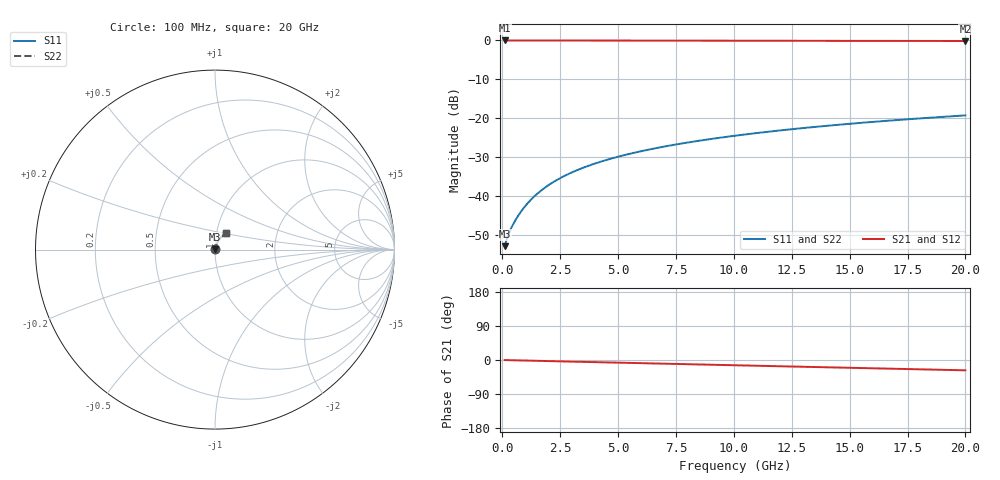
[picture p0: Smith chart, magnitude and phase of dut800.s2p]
! Touchstone file exported from HFSS 2026.1.0
!  File:  C:/ffzhzh/LocalFiles/Ansys_Project_Files/temp_train_TMRDL_800_1783156090_51560.aedt
!  Generated:  05:09:19 PM Jul  4, 2026
!  Design:  TMRDL
!  Project:  temp_train_TMRDL_800_1783156090_51560
! Variables:
!  h_bsmrdl = 2um
!  h_ox = 20um
!  h_rdl = 5um
!  h_sub = 80um
!  h_tmrdl = 4.79um
!  h_tsv = 80um
!  h_via = 3um
!  l_bsmrdl = 300um
!  l_sub = 869.86um
!  l_tmrdl = 469.86um
!  m_sub = 200um
!  pitch = 26.62um
!  r_tsv = 6um
!  s_tmrdl = 10um
!  w_bsmrdl = 18um
!  w_sub = 500um
!  w_tmrdl = 18.42um
!  x_tsv_center1 = 479.07um
!  x_tsv_center2 = 797.07um
!  x_tsv_center3 = 1285.35um
!  x_tsv_center4 = 1603.35um
!  x_tsv_center5 = 2091.63um
!  x_tsv_center6 = 2409.63um
# GHz S MA R 50.000000
! Terminal data exported
! Port[1] = TM_RDL1_1_T1
! Port[2] = TM_RDL1_1_T2
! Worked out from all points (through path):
!   200 points, 100 MHz to 20 GHz, reference 50 ohm
!   highest |S21| = -0.02 dB at 100 MHz (marker M1); lowest = -0.2 dB at 20 GHz (marker M2)
!   group delay of S21, straight-line fit = 3.77 ps
!   lowest |S11| = -52.9 dB at 100 MHz (marker M3), VSWR 1.00, Z = 50.2 + j0.0934 ohm
!   |S11| at or under -10 dB: start of sweep to end of sweep
!   |S22| runs from -52.9 to -19.3 dB; largest |S21 - S12| = 7.9e-15
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0.1  0.002275 24.1  0.9979 -0.2  0.9979 -0.2  0.002275 24.1
! Gamma 0 0 0 0
! Port Impedance 50 0 50 0
0.2  0.002846 36.9  0.9977 -0.3  0.9977 -0.3  0.002846 36.9
0.3  0.003416 44.3  0.9976 -0.5  0.9976 -0.5  0.003415 44.3
0.4  0.003968 49.7  0.9974 -0.6  0.9974 -0.6  0.003967 49.7
0.6  0.005093 57.5  0.9973 -0.9  0.9973 -0.9  0.005092 57.5
0.9  0.006883 64.6  0.9971 -1.3  0.9971 -1.3  0.006883 64.6
1.1  0.008125 67.5  0.997 -1.6  0.997 -1.6  0.008125 67.5
1.3  0.009387 69.5  0.9969 -1.9  0.9969 -1.9  0.009387 69.5
1.7  0.01194 71.9  0.9967 -2.4  0.9967 -2.4  0.01194 71.9
2.2  0.01512 73.4  0.9963 -3.1  0.9963 -3.1  0.01512 73.4
2.8  0.01889 74.0  0.9959 -4.0  0.9959 -4.0  0.01889 74.0
3.5  0.02319 73.9  0.9953 -5.0  0.9953 -5.0  0.02319 73.9
4.2  0.02738 73.6  0.9946 -5.9  0.9946 -5.9  0.02738 73.6
5  0.03206 72.9  0.9939 -7.0  0.9939 -7.0  0.03206 72.9
5.9  0.03719 72.1  0.9931 -8.3  0.9931 -8.3  0.03719 72.1
6.8  0.0422 71.2  0.9923 -9.5  0.9923 -9.5  0.0422 71.3
8.3  0.05037 69.7  0.9911 -11.5  0.9911 -11.5  0.05037 69.7
10.1  0.05993 67.8  0.9896 -14.0  0.9896 -14.0  0.05993 67.8
11.7  0.06823 66.1  0.9884 -16.1  0.9884 -16.1  0.06823 66.1
13.4  0.07689 64.2  0.9871 -18.4  0.9871 -18.4  0.07689 64.2
16.7  0.09317 60.4  0.9846 -22.8  0.9846 -22.8  0.09317 60.4
20  0.1087 56.5  0.982 -27.2  0.982 -27.2  0.1087 56.5
